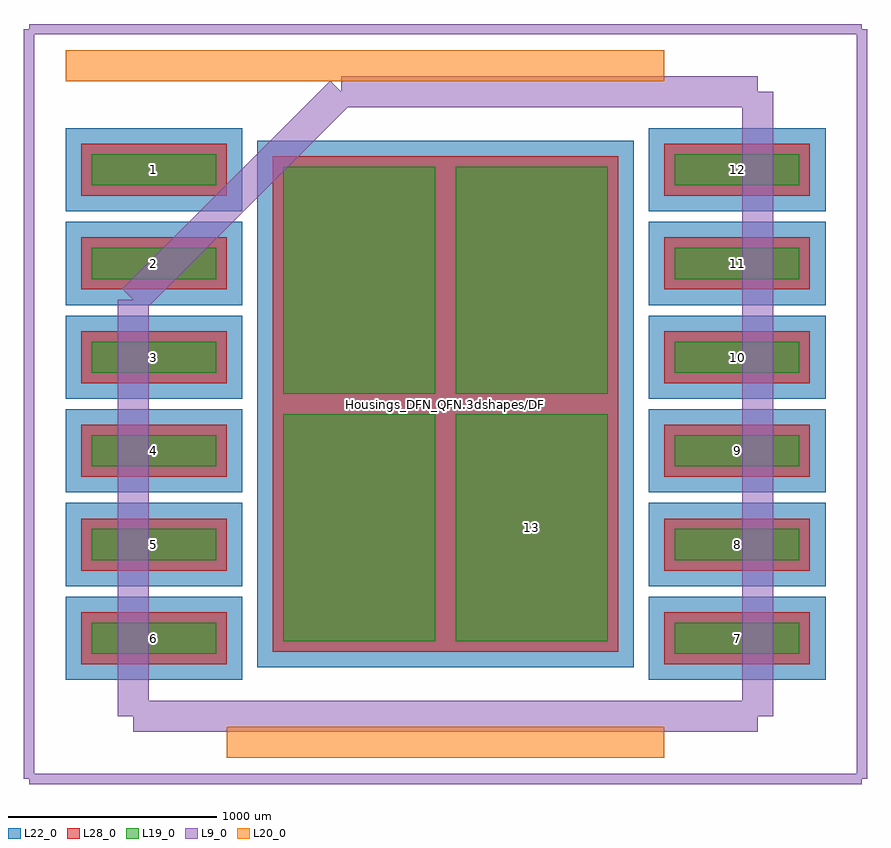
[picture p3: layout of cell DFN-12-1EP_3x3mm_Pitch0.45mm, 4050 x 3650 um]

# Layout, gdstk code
import gdstk
lib = gdstk.Library(unit=1e-6, precision=1e-09)
def R(c, l, rs):  # rectangles x0, y0, x1, y1
    for r in rs: c.add(gdstk.rectangle(r[:2], r[2:], *l))
def A(c, l, x, y, w, h, nx, ny, dx, dy):  # array of equal rectangles
    R(c, l, [(x+i*dx, y+j*dy, x+i*dx+w, y+j*dy+h) for i in range(nx) for j in range(ny)])
L9_0 = (9, 0)
L19_0 = (19, 0)
L20_0 = (20, 0)
L22_0 = (22, 0)
L28_0 = (28, 0)

dfn_12_1ep_3x3mm_pitch0_ = lib.new_cell('DFN-12-1EP_3x3mm_Pitch0.45mm')
A(dfn_12_1ep_3x3mm_pitch0_, L19_0, -1700, -1200, 600, 150, 1, 6, 0, 450)
A(dfn_12_1ep_3x3mm_pitch0_, L19_0, 1100, -1200, 600, 150, 1, 6, 0, 450)
R(dfn_12_1ep_3x3mm_pitch0_, L19_0, [(-780,-1140,-50,-50), (50,-1140,780,-50), (-780,50,-50,1140), (50,50,780,1140)])
A(dfn_12_1ep_3x3mm_pitch0_, L22_0, -1825, -1325, 850, 400, 1, 6, 0, 450)
A(dfn_12_1ep_3x3mm_pitch0_, L22_0, 975, -1325, 850, 400, 1, 6, 0, 450)
R(dfn_12_1ep_3x3mm_pitch0_, L22_0, [(-905,-1265,75,75), (-75,-1265,905,75), (-905,-75,75,1265), (-75,-75,905,1265)])
A(dfn_12_1ep_3x3mm_pitch0_, L28_0, -1750, -1250, 700, 250, 1, 6, 0, 450)
A(dfn_12_1ep_3x3mm_pitch0_, L28_0, 1050, -1250, 700, 250, 1, 6, 0, 450)
R(dfn_12_1ep_3x3mm_pitch0_, L28_0, [(-830,-1190,0,0), (0,-1190,830,0), (-830,0,0,1190), (0,0,830,1190)])
dfn_12_1ep_3x3mm_pitch0_.add(gdstk.FlexPath([(-1825,1625),(1050,1625)], 149.998, ends="flush", simple_path=True, layer=20, datatype=0))  # L20_0
dfn_12_1ep_3x3mm_pitch0_.add(gdstk.FlexPath([(-1050,-1625),(1050,-1625)], 149.998, ends="flush", simple_path=True, layer=20, datatype=0))  # L20_0
dfn_12_1ep_3x3mm_pitch0_.add(gdstk.FlexPath([(-2000,-1800),(2000,-1800)], 50, ends="flush", simple_path=True, layer=9, datatype=0))  # L9_0
dfn_12_1ep_3x3mm_pitch0_.add(gdstk.FlexPath([(-2000,1800),(2000,1800)], 50, ends="flush", simple_path=True, layer=9, datatype=0))  # L9_0
dfn_12_1ep_3x3mm_pitch0_.add(gdstk.FlexPath([(2000,1800),(2000,-1800)], 50, ends="flush", simple_path=True, layer=9, datatype=0))  # L9_0
dfn_12_1ep_3x3mm_pitch0_.add(gdstk.FlexPath([(-2000,1800),(-2000,-1800)], 50, ends="flush", simple_path=True, layer=9, datatype=0))  # L9_0
dfn_12_1ep_3x3mm_pitch0_.add(gdstk.FlexPath([(-1500,500),(-500,1500)], 149.998, ends="flush", simple_path=True, layer=9, datatype=0))  # L9_0
dfn_12_1ep_3x3mm_pitch0_.add(gdstk.FlexPath([(-1500,-1500),(-1500,500)], 149.998, ends="flush", simple_path=True, layer=9, datatype=0))  # L9_0
dfn_12_1ep_3x3mm_pitch0_.add(gdstk.FlexPath([(1500,-1500),(-1500,-1500)], 149.998, ends="flush", simple_path=True, layer=9, datatype=0))  # L9_0
dfn_12_1ep_3x3mm_pitch0_.add(gdstk.FlexPath([(1500,1500),(1500,-1500)], 149.998, ends="flush", simple_path=True, layer=9, datatype=0))  # L9_0
dfn_12_1ep_3x3mm_pitch0_.add(gdstk.FlexPath([(-500,1500),(1500,1500)], 149.998, ends="flush", simple_path=True, layer=9, datatype=0))  # L9_0
dfn_12_1ep_3x3mm_pitch0_.add(gdstk.Label('Housings_DFN_QFN.3dshapes/DFN-12-1EP_3x3mm_Pitch0.45mm.wrl', (0,0), layer=12, texttype=0))
dfn_12_1ep_3x3mm_pitch0_.add(gdstk.Label('13', (415,-595), layer=28, texttype=0))
dfn_12_1ep_3x3mm_pitch0_.add(gdstk.Label('12', (1400,1125), layer=28, texttype=0))
dfn_12_1ep_3x3mm_pitch0_.add(gdstk.Label('11', (1400,675), layer=28, texttype=0))
dfn_12_1ep_3x3mm_pitch0_.add(gdstk.Label('10', (1400,225), layer=28, texttype=0))
dfn_12_1ep_3x3mm_pitch0_.add(gdstk.Label('9', (1400,-225), layer=28, texttype=0))
dfn_12_1ep_3x3mm_pitch0_.add(gdstk.Label('8', (1400,-675), layer=28, texttype=0))
dfn_12_1ep_3x3mm_pitch0_.add(gdstk.Label('7', (1400,-1125), layer=28, texttype=0))
dfn_12_1ep_3x3mm_pitch0_.add(gdstk.Label('6', (-1400,-1125), layer=28, texttype=0))
dfn_12_1ep_3x3mm_pitch0_.add(gdstk.Label('5', (-1400,-675), layer=28, texttype=0))
dfn_12_1ep_3x3mm_pitch0_.add(gdstk.Label('4', (-1400,-225), layer=28, texttype=0))
dfn_12_1ep_3x3mm_pitch0_.add(gdstk.Label('3', (-1400,225), layer=28, texttype=0))
dfn_12_1ep_3x3mm_pitch0_.add(gdstk.Label('2', (-1400,675), layer=28, texttype=0))
dfn_12_1ep_3x3mm_pitch0_.add(gdstk.Label('1', (-1400,1125), layer=28, texttype=0))
dfn_12_1ep_3x3mm_pitch0_.add(gdstk.Label('type', (0,-2550), layer=9, texttype=0))
dfn_12_1ep_3x3mm_pitch0_.add(gdstk.Label('devicename', (0,2550), layer=9, texttype=0))

lib.write_gds('DFN-12-1EP_3x3mm_Pitch0.45mm.gds')
